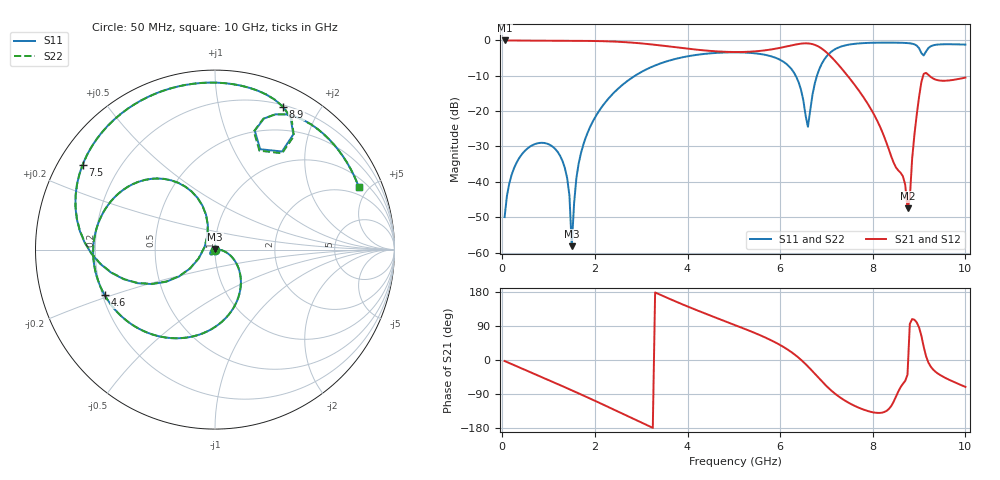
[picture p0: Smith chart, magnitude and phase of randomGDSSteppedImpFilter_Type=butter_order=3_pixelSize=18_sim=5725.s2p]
! freq	dB(S11)	phase(S11)	dB(S12)	phase(S12)
!  dB(S21)	phase(S21)	dB(S22)	phase(S22)
!S-par simulation data
#  GHz  S  DB  R 50
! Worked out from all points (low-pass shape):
!   200 points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, 50 MHz to 10 GHz, reference 50 ohm
!   highest |S21| = 0.00 dB at 50 MHz (marker M1); lowest = -47.5 dB at 8.75 GHz (marker M2)
!   |S21| within 3 dB of the highest: start of sweep to 4.532 GHz; 5.531 GHz to 6.967 GHz (1.436 GHz wide, 23 % of centre)
!   lowest |S11| = -58.2 dB at 1.5 GHz (marker M3), VSWR 1.00, Z = 50 + j0.122 ohm
!   |S11| at or under -10 dB: start of sweep to 2.865 GHz; 6.336 GHz to 6.795 GHz (458.3 MHz wide, 6.98 % of centre)
!   |S22| runs from -58.1 to -0.6 dB; largest |S21 - S12| = 0
!   S11 on the Smith chart (normalised r, x): 50 MHz: 1.00, -0.01; 4.6 GHz: 0.21, -0.19; 7.5 GHz: 0.07, +0.29; 8.9 GHz: 0.22, +1.56; 10 GHz: 1.48, +4.34
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0.05  -49.96 -91.1  -0.00 -2.7  -0.00 -2.7  -49.96 -91.1
0.35  -33.59 -108.6  -0.04 -18.6  -0.04 -18.6  -33.59 -108.6
1  -29.36 -143.7  -0.07 -53.1  -0.07 -53.1  -29.36 -143.7
1.4  -38.91 -165.7  -0.09 -74.5  -0.09 -74.5  -38.91 -165.9
1.5  -58.20 98.6  -0.10 -80.0  -0.10 -80.0  -58.07 104.3
1.6  -38.90 4.5  -0.10 -85.4  -0.10 -85.4  -38.90 4.8
1.75  -29.46 -4.1  -0.12 -93.7  -0.12 -93.7  -29.46 -4.0
2.65  -11.98 -55.4  -0.48 -144.8  -0.48 -144.8  -11.98 -55.4
3.4  -6.57 -97.8  -1.38 172.8  -1.38 172.8  -6.57 -97.8
4.6  -3.54 -157.6  -3.07 112.2  -3.07 112.2  -3.54 -157.6
5.05  -3.36 -178.3  -3.28 91.1  -3.28 91.1  -3.36 -178.4
6.2  -7.43 118.9  -1.53 24.4  -1.53 24.4  -7.43 118.8
6.6  -24.44 168.4  -0.84 -17.0  -0.84 -17.0  -24.36 168.2
6.7  -15.22 -142.9  -1.05 -29.9  -1.05 -29.9  -15.21 -143.1
7  -4.55 -167.4  -3.37 -68.8  -3.37 -68.8  -4.55 -167.6
7.5  -1.15 147.3  -10.72 -114.3  -10.72 -114.3  -1.15 147.2
8.35  -0.61 97.4  -30.93 -128.9  -30.93 -128.9  -0.61 97.2
8.65  -0.68 81.1  -38.39 -62.9  -38.39 -62.9  -0.68 80.9
8.75  -0.75 75.1  -47.50 -38.7  -47.50 -38.7  -0.75 74.8
8.9  -1.10 64.4  -26.59 106.2  -26.59 106.2  -1.12 64.0
9.1  -4.25 65.8  -9.44 34.9  -9.44 34.9  -4.38 65.8
10  -1.17 23.4  -10.52 -71.0  -10.52 -71.0  -1.17 23.3
